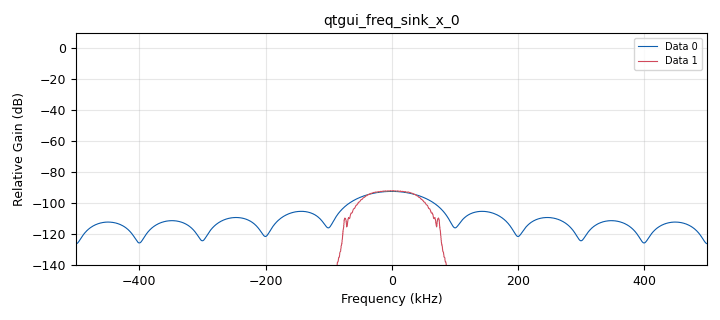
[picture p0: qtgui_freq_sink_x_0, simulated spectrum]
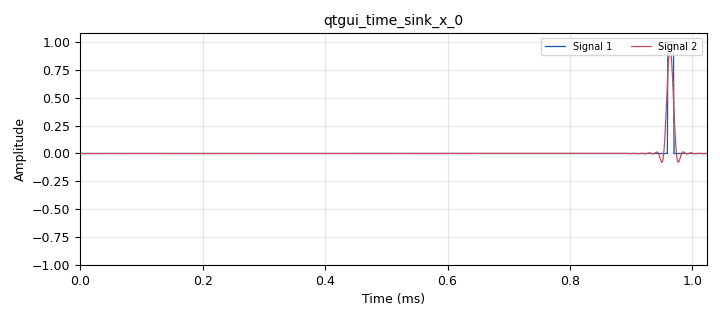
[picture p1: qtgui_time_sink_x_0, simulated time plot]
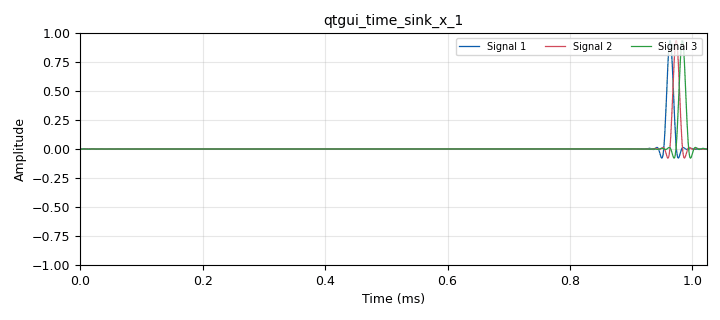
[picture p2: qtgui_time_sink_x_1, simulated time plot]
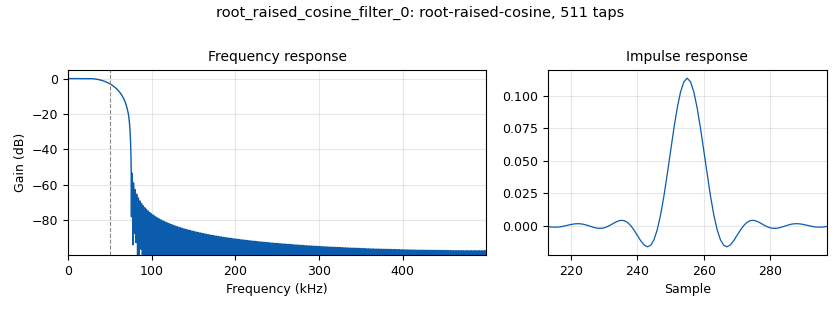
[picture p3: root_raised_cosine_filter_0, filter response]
options:
  parameters:
    generate_options: qt_gui
    id: untitled
    output_language: python
    title: Not titled yet
  states: {}

blocks:
- name: alpha
  id: variable_qtgui_range
  parameters:
    label: Alpha
    start: '0'
    step: '.1'
    stop: '1'
    value: '.5'
  states: {}
- name: delay
  id: variable_qtgui_range
  parameters:
    label: Delay
    start: '200'
    step: '5'
    stop: '300'
    value: '256'
  states: {}
- name: samp_rate
  id: variable
  parameters:
    value: '1000000'
  states: {}
- name: sps
  id: variable
  parameters:
    value: '10'
  states: {}
- name: taps
  id: variable
  parameters:
    value: '511'
  states: {}
- name: blocks_delay_0
  id: blocks_delay
  parameters:
    delay: delay
    type: float
  states: {}
- name: blocks_delay_1
  id: blocks_delay
  parameters:
    delay: '20'
    type: float
  states: {}
- name: blocks_delay_1_0
  id: blocks_delay
  parameters:
    delay: '10'
    type: float
  states: {}
- name: blocks_throttle_0
  id: blocks_throttle
  parameters:
    samples_per_second: samp_rate
    type: float
  states: {}
- name: blocks_vector_source_x_0
  id: blocks_vector_source_x
  parameters:
    repeat: 'True'
    type: float
    vector: '[1]*sps + [0]*(1024-sps)'
  states: {}
- name: blocks_vector_source_x_0_0
  id: blocks_vector_source_x
  parameters:
    repeat: 'True'
    type: float
    vector: '[1]*sps + [0]*(1024-sps)'
  states: {}
- name: qtgui_freq_sink_x_0
  id: qtgui_freq_sink_x
  parameters:
    bw: samp_rate
    fc: '0'
    fftsize: '1024'
    nconnections: '2'
    type: float
  states: {}
- name: qtgui_time_sink_x_0
  id: qtgui_time_sink_x
  parameters:
    nconnections: '2'
    size: '1024'
    srate: samp_rate
    type: float
  states: {}
- name: qtgui_time_sink_x_1
  id: qtgui_time_sink_x
  parameters:
    nconnections: '3'
    size: '1024'
    srate: samp_rate
    type: float
  states: {}
- name: root_raised_cosine_filter_0
  id: root_raised_cosine_filter
  parameters:
    alpha: alpha
    decim: '1'
    gain: '1'
    ntaps: taps
    samp_rate: samp_rate
    sym_rate: samp_rate/sps
    type: fir_filter_fff
  states: {}

connections:
- [blocks_delay_0, '0', qtgui_freq_sink_x_0, '0']
- [blocks_delay_0, '0', qtgui_time_sink_x_0, '0']
- [blocks_delay_1, '0', qtgui_time_sink_x_1, '2']
- [blocks_delay_1_0, '0', qtgui_time_sink_x_1, '1']
- [blocks_throttle_0, '0', blocks_delay_0, '0']
- [blocks_vector_source_x_0, '0', blocks_throttle_0, '0']
- [blocks_vector_source_x_0_0, '0', root_raised_cosine_filter_0, '0']
- [root_raised_cosine_filter_0, '0', blocks_delay_1, '0']
- [root_raised_cosine_filter_0, '0', blocks_delay_1_0, '0']
- [root_raised_cosine_filter_0, '0', qtgui_freq_sink_x_0, '1']
- [root_raised_cosine_filter_0, '0', qtgui_time_sink_x_0, '1']
- [root_raised_cosine_filter_0, '0', qtgui_time_sink_x_1, '0']

metadata:
  file_format: 1
  grc_version: 3.10.11.0
